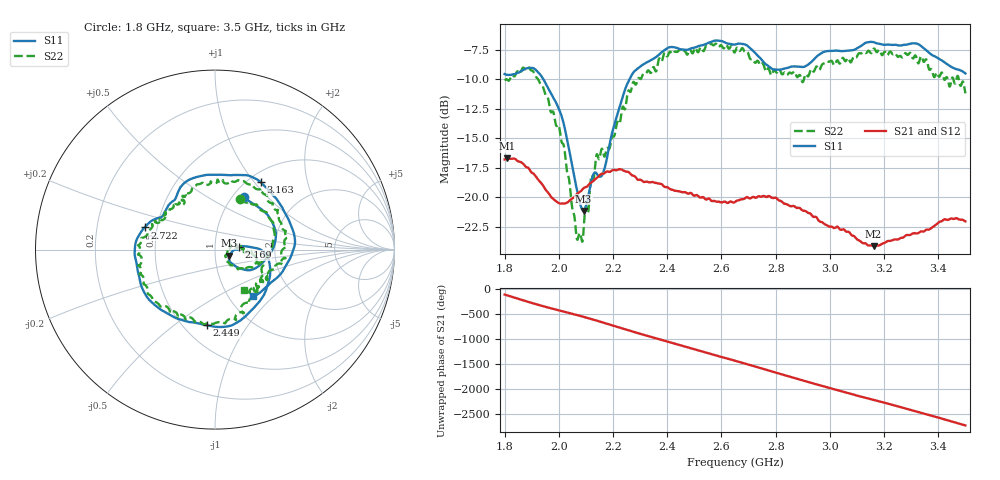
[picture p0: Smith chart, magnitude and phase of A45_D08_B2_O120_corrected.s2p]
! Created with skrf 1.9.0 (http://scikit-rf.org).
# Hz S RI R 50.0
!freq ReS11 ImS11 ReS21 ImS21 ReS12 ImS12 ReS22 ImS22
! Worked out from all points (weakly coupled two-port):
!   1601 points, 1.8 GHz to 3.5 GHz, reference 50 ohm
!   highest |S21| = -16.70 dB at 1.811 GHz (marker M1); lowest = -24.1 dB at 3.161 GHz (marker M2)
!   lowest |S11| = -21.2 dB at 2.091 GHz (marker M3), VSWR 1.19, Z = 58.6 - j3.99 ohm
!   |S11| at or under -10 dB: 1.943 GHz to 2.26 GHz (317 MHz wide, 15.1 % of centre)
!   |S22| runs from -23.8 to -7.0 dB; largest |S21 - S12| = 0.0027
!   S11 on the Smith chart (normalised r, x): 1.8 GHz: 1.13, +0.74; 2.169 GHz: 1.30, +0.04; 2.449 GHz: 0.64, -0.66; 2.722 GHz: 0.43, +0.13; 3.163 GHz: 1.14, +1.08; 3.5 GHz: 1.29, -0.75
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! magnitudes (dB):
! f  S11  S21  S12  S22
! 1.8 GHz  -9.6  -16.8  -16.8  -10.1
! 1.811 GHz  -9.6  -16.7  -16.7  -10.0
! 1.887 GHz  -9.0  -17.5  -17.6  -8.9
! 1.94 GHz  -9.9  -18.9  -18.9  -10.6
! 2.011 GHz  -13.2  -20.5  -20.5  -15.4
! 2.063 GHz  -19.0  -19.8  -19.8  -23.0
! 2.084 GHz  -20.9  -19.4  -19.4  -23.6
! 2.091 GHz  -21.2  -19.2  -19.3  -22.9
! 2.139 GHz  -18.0  -18.4  -18.4  -16.4
! 2.169 GHz  -17.6  -18.0  -18.0  -16.6
! 2.258 GHz  -10.1  -17.9  -17.9  -10.9
! 2.367 GHz  -8.0  -18.8  -18.8  -8.4
! 2.449 GHz  -7.5  -19.5  -19.5  -7.6
! 2.65 GHz  -7.1  -20.4  -20.4  -7.7
! 2.722 GHz  -7.7  -20.0  -19.9  -8.6
! 2.797 GHz  -9.2  -20.0  -20.0  -9.2
! 2.934 GHz  -8.5  -21.5  -21.5  -9.2
! 3.161 GHz  -6.8  -24.1  -24.1  -7.4
! 3.163 GHz  -6.9  -24.1  -24.1  -7.4
! 3.217 GHz  -7.1  -23.7  -23.7  -7.8
! 3.324 GHz  -7.0  -23.1  -23.0  -8.5
! 3.5 GHz  -9.5  -22.0  -22.0  -11.2
